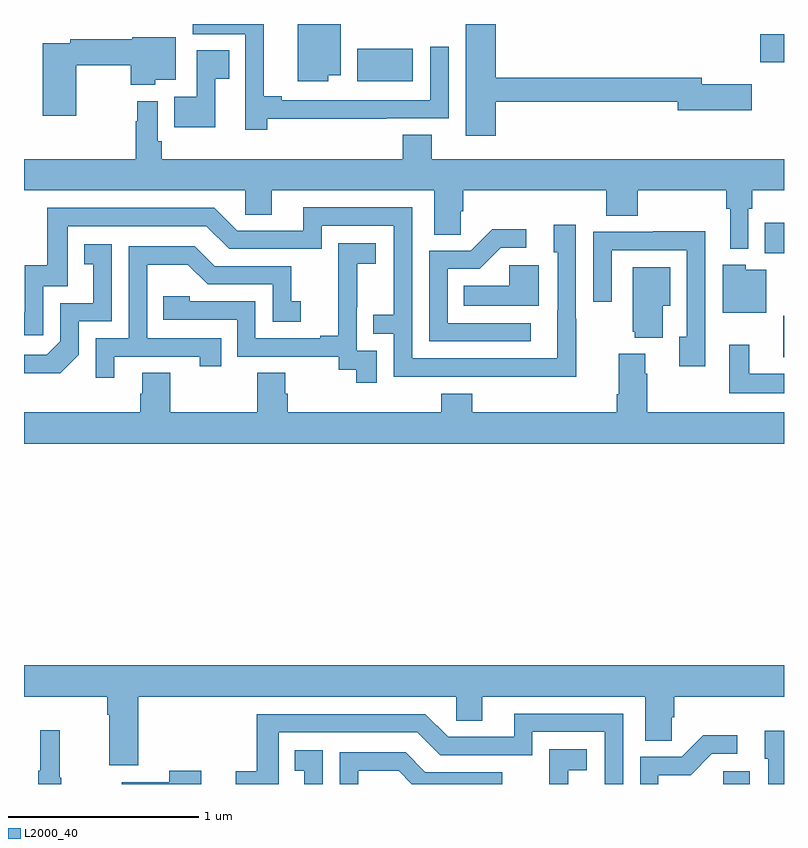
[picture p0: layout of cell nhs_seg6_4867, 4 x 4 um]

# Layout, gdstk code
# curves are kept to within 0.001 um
import gdstk
lib = gdstk.Library(unit=1e-6, precision=1e-09)
def R(c, l, rs):  # rectangles x0, y0, x1, y1
    for r in rs: c.add(gdstk.rectangle(r[:2], r[2:], *l))
def P(c, l, *ps):  # polygons
    for p in ps: c.add(gdstk.Polygon(p, *l))
L2000_40 = (2000, 40)

nhs_seg6_4867 = lib.new_cell('nhs_seg6_4867')
R(nhs_seg6_4867, L2000_40, [(402.681,989.5,402.82,989.566), (402.995,991.745,403,991.965), (402.898,992.294,403,992.455), (400.754,993.2,401.047,993.37), (402.876,993.299,403,993.446)])
P(nhs_seg6_4867, L2000_40, [(401.483,993.09),(402.44,993.09),(402.44,993.047),(402.829,993.047),(402.829,993.182),(402.568,993.182),(402.568,993.218),(401.483,993.218),(401.483,993.5),(401.324,993.5),(401.324,992.913),(401.483,992.913)],
  [(400.28,993.002),(400.91,993.002),(400.91,993.003),(401.235,993.003),(401.235,993.379),(401.139,993.379),(401.139,993.099),(400.357,993.099),(400.357,993.119),(400.262,993.119),(400.262,993.5),(399.887,993.5),(399.887,993.447),(400.164,993.447),(400.164,992.943),(400.28,992.943)],
  [(400.6,993.23),(400.666,993.23),(400.666,993.5),(400.442,993.5),(400.442,993.2),(400.6,993.2)],
  [(399.276,993.283),(399.562,993.283),(399.562,993.179),(399.69,993.179),(399.69,993.206),(399.799,993.206),(399.799,993.43),(399.569,993.43),(399.569,993.419),(399.244,993.419),(399.244,993.399),(399.098,993.399),(399.098,993.018),(399.276,993.018)],
  [(400.006,993.211),(400.079,993.211),(400.079,993.362),(399.909,993.362),(399.909,993.118),(399.79,993.118),(399.79,992.957),(400.006,992.957)],
  [(402.813,992.528),(402.833,992.528),(402.833,992.624),(403,992.624),(403,992.788),(401.146,992.788),(401.146,992.918),(400.994,992.918),(400.994,992.788),(399.725,992.788),(399.725,992.884),(399.705,992.884),(399.705,993.094),(399.597,993.094),(399.597,992.987),(399.589,992.987),(399.589,992.788),(399,992.788),(399,992.624),(400.164,992.624),(400.164,992.497),(400.303,992.497),(400.303,992.624),(401.159,992.624),(401.159,992.392),(401.298,992.392),(401.298,992.515),(401.312,992.515),(401.312,992.624),(402.065,992.624),(402.065,992.491),(402.23,992.491),(402.23,992.624),(402.697,992.624),(402.697,992.528),(402.716,992.528),(402.716,992.318),(402.813,992.318)],
  [(401.907,991.949),(401.904,991.949),(401.904,992.443),(401.789,992.443),(401.789,992.298),(401.808,992.298),(401.807,991.74),(401.043,991.74),(401.043,992.535),(400.469,992.535),(400.469,992.412),(400.122,992.412),(400.002,992.532),(399.123,992.532),(399.123,992.23),(399.005,992.23),(399.005,991.983),(399,991.983),(399,991.863),(399.102,991.863),(399.102,992.121),(399.231,992.121),(399.231,992.436),(399.96,992.436),(400.08,992.316),(400.566,992.316),(400.566,992.439),(400.947,992.439),(400.947,991.97),(400.837,991.97),(400.837,991.869),(400.947,991.869),(400.947,991.644),(401.907,991.643)],
  [(401.668,991.926),(401.229,991.926),(401.229,992.211),(401.398,992.211),(401.509,992.322),(401.644,992.322),(401.644,992.42),(401.465,992.42),(401.352,992.307),(401.133,992.307),(401.133,991.83),(401.668,991.83)],
  [(402.585,992.408),(402.313,992.408),(402.313,992.406),(401.997,992.406),(401.997,992.037),(402.093,992.037),(402.093,992.31),(402.489,992.31),(402.489,991.854),(402.449,991.854),(402.449,991.698),(402.585,991.698)],
  [(400.857,991.779),(400.752,991.779),(400.752,992.009),(400.754,992.009),(400.754,992.237),(400.852,992.237),(400.852,992.347),(400.654,992.347),(400.654,992.141),(400.655,992.141),(400.655,991.858),(400.559,991.858),(400.559,991.845),(400.218,991.845),(400.218,992.04),(399.873,992.04),(399.873,992.067),(399.733,992.067),(399.733,991.944),(400.122,991.944),(400.122,991.749),(400.656,991.749),(400.656,991.681),(400.749,991.681),(400.749,991.611),(400.857,991.611)],
  [(399.288,991.758),(399.288,991.935),(399.462,991.935),(399.462,992.341),(399.316,992.341),(399.316,992.235),(399.365,992.235),(399.365,992.031),(399.192,992.031),(399.192,991.83),(399.12,991.758),(399,991.758),(399,991.661),(399.19,991.661)],
  [(399.475,991.749),(399.926,991.749),(399.926,991.698),(400.037,991.698),(400.037,991.845),(399.648,991.845),(399.648,992.234),(399.862,992.234),(399.966,992.13),(400.308,992.13),(400.308,991.932),(400.456,991.932),(400.456,992.041),(400.407,992.041),(400.407,992.226),(400.003,992.226),(399.898,992.331),(399.552,992.331),(399.552,991.845),(399.378,991.845),(399.378,991.638),(399.475,991.638)],
  [(402.907,992.206),(402.798,992.206),(402.798,992.233),(402.677,992.233),(402.677,991.979),(402.907,991.979)],
  [(401.71,992.23),(401.553,992.23),(401.553,992.122),(401.314,992.122),(401.314,992.018),(401.71,992.018)],
  [(402.361,992.018),(402.4,992.018),(402.4,992.221),(402.203,992.221),(402.203,991.881),(402.215,991.881),(402.215,991.85),(402.361,991.85)],
  [(403,991.66),(402.817,991.66),(402.817,991.813),(402.713,991.813),(402.713,991.556),(403,991.556)],
  [(403,991.456),(402.279,991.456),(402.279,991.658),(402.271,991.658),(402.271,991.765),(402.131,991.765),(402.131,991.552),(402.119,991.552),(402.119,991.456),(401.36,991.456),(401.36,991.555),(401.195,991.555),(401.195,991.456),(400.388,991.456),(400.388,991.554),(400.375,991.554),(400.375,991.664),(400.228,991.664),(400.228,991.456),(399.771,991.456),(399.771,991.664),(399.623,991.664),(399.623,991.554),(399.611,991.554),(399.611,991.456),(399,991.456),(399,991.292),(403,991.292)],
  [(399.602,989.96),(401.274,989.96),(401.274,989.833),(401.413,989.833),(401.413,989.96),(402.269,989.96),(402.269,989.728),(402.408,989.728),(402.408,989.851),(402.422,989.851),(402.422,989.96),(403,989.96),(403,990.124),(399,990.124),(399,989.96),(399.437,989.96),(399.437,989.864),(399.449,989.864),(399.449,989.598),(399.602,989.598)],
  [(400.341,989.772),(401.07,989.772),(401.19,989.652),(401.676,989.652),(401.676,989.775),(402.057,989.775),(402.057,989.5),(402.153,989.5),(402.153,989.871),(401.579,989.871),(401.579,989.748),(401.232,989.748),(401.112,989.868),(400.225,989.868),(400.225,989.566),(400.115,989.566),(400.115,989.5),(400.341,989.5)],
  [(399.196,989.532),(399.188,989.532),(399.188,989.782),(399.086,989.782),(399.086,989.569),(399.075,989.569),(399.075,989.5),(399.196,989.5)],
  [(403,989.779),(402.899,989.779),(402.899,989.634),(402.918,989.634),(402.918,989.5),(403,989.5)],
  [(402.339,989.547),(402.508,989.547),(402.619,989.658),(402.754,989.658),(402.754,989.756),(402.575,989.756),(402.462,989.643),(402.243,989.643),(402.243,989.5),(402.339,989.5)],
  [(401.864,989.573),(401.962,989.573),(401.962,989.683),(401.764,989.683),(401.764,989.5),(401.864,989.5)],
  [(400.572,989.677),(400.426,989.677),(400.426,989.571),(400.475,989.571),(400.475,989.5),(400.572,989.5)],
  [(400.758,989.57),(400.972,989.57),(401.042,989.5),(401.517,989.5),(401.517,989.562),(401.113,989.562),(401.008,989.667),(400.662,989.667),(400.662,989.5),(400.758,989.5)],
  [(399.934,989.569),(399.764,989.569),(399.764,989.509),(399.515,989.509),(399.515,989.5),(399.934,989.5)])

lib.write_gds('nhs_seg6_4867.gds')
